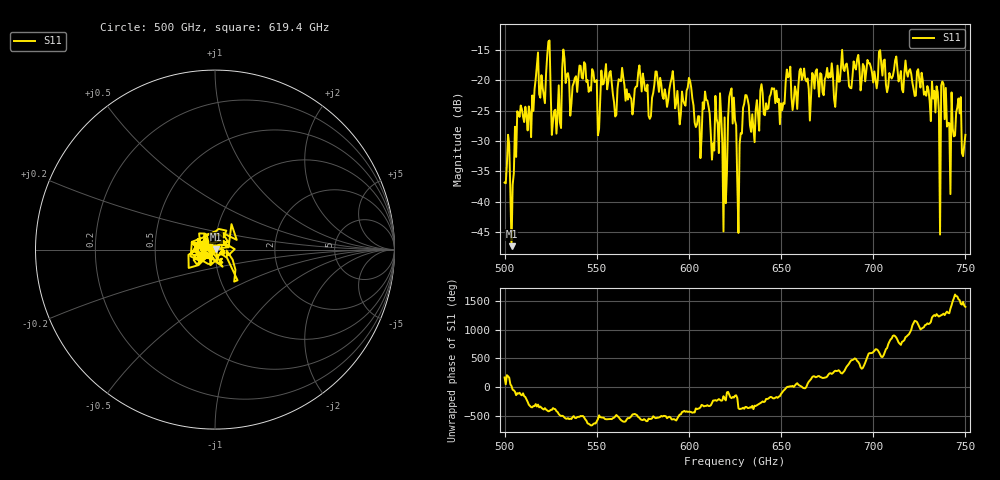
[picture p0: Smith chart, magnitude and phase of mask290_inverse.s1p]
!Created with skrf (http://scikit-rf.org).
# GHz S MA R 50.0
!freq magS11 angS11
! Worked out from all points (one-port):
!   401 points, 500 GHz to 750 GHz, reference 50 ohm
!   lowest |S11| = -47.3 dB at 503.8 GHz (marker M1), VSWR 1.01, Z = 50.4 + j0.146 ohm
!   |S11| at or under -10 dB: start of sweep to end of sweep
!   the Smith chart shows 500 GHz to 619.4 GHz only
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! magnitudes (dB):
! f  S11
! 500 GHz  -36.9
! 503.8 GHz  -47.3
! 508.1 GHz  -26.0
! 513.1 GHz  -24.3
! 517.5 GHz  -17.5
! 523.8 GHz  -13.6
! 526.9 GHz  -25.1
! 531.2 GHz  -18.0
! 562.5 GHz  -20.1
! 593.8 GHz  -21.8
! 600 GHz  -19.6
! 605.6 GHz  -26.0
! 615.6 GHz  -27.2
! 619.4 GHz  -26.1
! 622.5 GHz  -21.9
! 625 GHz  -26.6
! 627.5 GHz  -30.6
! 630.6 GHz  -22.5
! 634.4 GHz  -25.6
! 656.2 GHz  -24.9
! 687.5 GHz  -21.3
! 718.8 GHz  -19.4
! 733.8 GHz  -25.3
! 735 GHz  -22.0
! 738.1 GHz  -20.6
! 743.1 GHz  -28.0
! 746.2 GHz  -23.0
! 750 GHz  -29.0
